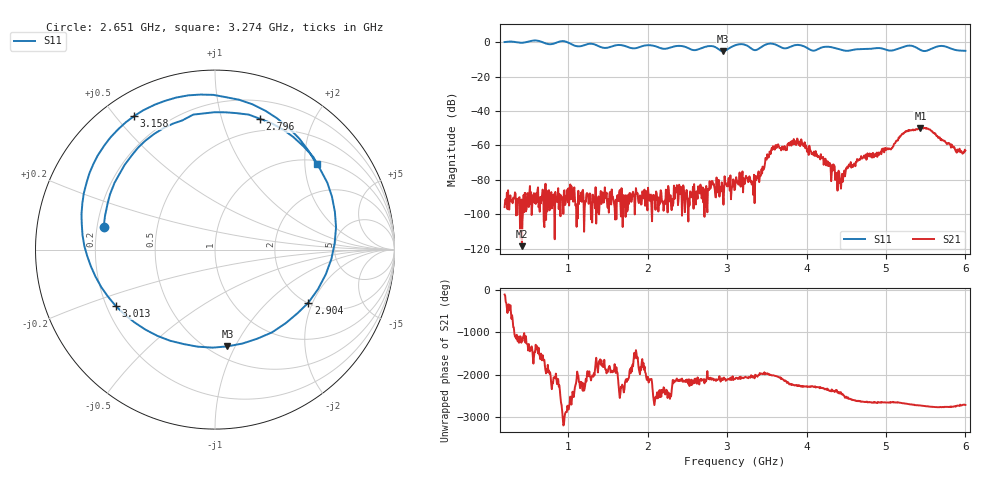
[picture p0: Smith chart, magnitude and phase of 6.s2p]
! NanoVNA-App
! Date: 2024-06-25 16:04:05
! Start: 200MHz Stop: 6GHz Points: 801
! S-Parameter data: F S11 S21 S12 S22
# Hz S RI R 50
!  Frequency  S11_Real  S11_Imag  S21_Real  S21_Imag  S12_Real  S12_Imag  S22_Real  S22_Imag
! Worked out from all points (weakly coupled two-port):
!   801 points, 200 MHz to 6 GHz, reference 50 ohm
!   highest |S21| = -49.80 dB at 5.434 GHz (marker M1); lowest = -118.5 dB at 417.5 MHz (marker M2)
!   lowest |S11| = -5.3 dB at 2.948 GHz (marker M3), VSWR 3.38, Z = 30.5 - j46.6 ohm
!   |S11| at or under -10 dB: nowhere
!   S12 and S22 are empty: the file has one direction only
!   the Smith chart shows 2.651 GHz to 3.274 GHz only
!   S11 on the Smith chart (normalised r, x): 2.651 GHz: 0.23, +0.09; 2.796 GHz: 0.37, +1.34; 2.904 GHz: 2.02, -1.86; 3.013 GHz: 0.24, -0.25; 3.158 GHz: 0.09, +0.56; 3.274 GHz: 1.10, +2.30
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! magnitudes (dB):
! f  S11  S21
! 200 MHz  0.0  -95.8
! 417.5 MHz  -0.4  -118.5
! 1.171 GHz  -2.2  -92.7
! 2.136 GHz  -3.0  -98.4
! 2.651 GHz  -4.0  -86.8
! 2.796 GHz  -2.3  -84.4
! 2.904 GHz  -4.5  -89.7
! 2.948 GHz  -5.3  -88.3
! 3.013 GHz  -3.9  -81.6
! 3.1 GHz  -1.9  -85.5
! 3.158 GHz  -1.2  -75.7
! 3.274 GHz  -2.6  -78.5
! 3.397 GHz  -3.9  -75.1
! 3.607 GHz  -1.4  -60.0
! 3.912 GHz  -1.7  -57.7
! 4.072 GHz  -4.9  -64.7
! 4.441 GHz  -4.5  -79.3
! 4.666 GHz  -4.1  -68.0
! 5.036 GHz  -4.8  -61.8
! 5.231 GHz  -2.6  -52.5
! 5.434 GHz  -4.5  -49.8
! 6 GHz  -5.0  -62.9
